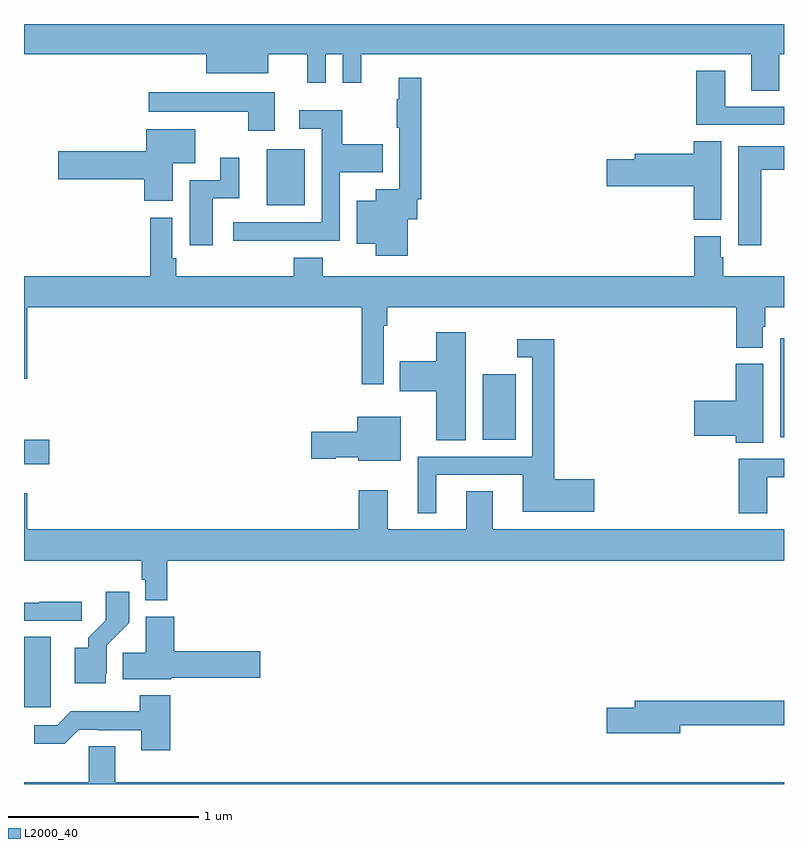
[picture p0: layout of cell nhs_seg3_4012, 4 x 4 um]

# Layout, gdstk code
import gdstk
lib = gdstk.Library(unit=1e-6, precision=1e-09)
def R(c, l, rs):  # rectangles x0, y0, x1, y1
    for r in rs: c.add(gdstk.rectangle(r[:2], r[2:], *l))
def P(c, l, *ps):  # polygons
    for p in ps: c.add(gdstk.Polygon(p, *l))
L2000_40 = (2000, 40)

nhs_seg3_4012 = lib.new_cell('nhs_seg3_4012')
R(nhs_seg3_4012, L2000_40, [(321,706.803,321.142,707.174), (321,708.083,321.133,708.213), (323.414,708.212,323.587,708.556), (324.98,708.224,325,708.745), (322.277,709.445,322.477,709.741)])
P(nhs_seg3_4012, L2000_40, [(321,710.24),(321.959,710.24),(321.959,710.141),(322.285,710.141),(322.285,710.24),(322.49,710.24),(322.49,710.091),(322.587,710.091),(322.587,710.24),(322.677,710.24),(322.677,710.091),(322.775,710.091),(322.775,710.24),(324.827,710.24),(324.827,710.05),(324.975,710.05),(324.975,710.24),(325,710.24),(325,710.4),(321,710.4)],
  [(325,709.965),(324.691,709.965),(324.691,710.155),(324.539,710.155),(324.539,709.869),(325,709.869)],
  [(323.021,709.373),(323.07,709.373),(323.07,709.477),(323.09,709.477),(323.09,710.116),(322.973,710.116),(322.973,710.003),(322.962,710.003),(322.962,709.855),(322.974,709.855),(322.974,709.531),(322.85,709.531),(322.85,709.471),(322.751,709.471),(322.751,709.244),(322.85,709.244),(322.85,709.179),(323.021,709.179)],
  [(322.321,710.041),(321.657,710.041),(321.657,709.937),(322.181,709.937),(322.181,709.839),(322.321,709.839)],
  [(322.337,709.26),(322.662,709.26),(322.662,709.619),(322.889,709.619),(322.889,709.767),(322.675,709.767),(322.675,709.945),(322.449,709.945),(322.449,709.848),(322.566,709.848),(322.566,709.356),(322.101,709.356),(322.101,709.259),(322.337,709.259)],
  [(321.784,709.667),(321.901,709.667),(321.901,709.846),(321.644,709.846),(321.644,709.73),(321.18,709.73),(321.18,709.583),(321.632,709.583),(321.632,709.47),(321.784,709.47)],
  [(324.67,709.784),(324.524,709.784),(324.524,709.718),(324.215,709.718),(324.215,709.688),(324.066,709.688),(324.066,709.546),(324.524,709.546),(324.524,709.369),(324.67,709.369)],
  [(324.88,709.634),(325,709.634),(325,709.756),(324.758,709.756),(324.758,709.236),(324.88,709.236)],
  [(321.994,709.482),(322.132,709.482),(322.132,709.696),(322.034,709.696),(322.034,709.578),(321.872,709.578),(321.872,709.236),(321.994,709.236)],
  [(322.893,708.812),(322.913,708.812),(322.913,708.908),(324.749,708.908),(324.749,708.697),(324.889,708.697),(324.889,708.807),(324.902,708.807),(324.902,708.908),(325,708.908),(325,709.072),(324.68,709.072),(324.68,709.173),(324.667,709.173),(324.667,709.284),(324.527,709.284),(324.527,709.072),(322.573,709.072),(322.573,709.171),(322.421,709.171),(322.421,709.072),(321.8,709.072),(321.8,709.168),(321.78,709.168),(321.78,709.381),(321.664,709.381),(321.664,709.072),(321,709.072),(321,708.534),(321.016,708.534),(321.016,708.908),(322.777,708.908),(322.777,708.504),(322.893,708.504)],
  [(323.326,708.778),(323.171,708.778),(323.171,708.625),(322.978,708.625),(322.978,708.467),(323.171,708.467),(323.171,708.208),(323.326,708.208)],
  [(323.17,708.027),(323.624,708.027),(323.624,707.834),(324.001,707.834),(324.001,708.005),(323.792,708.005),(323.792,708.742),(323.595,708.742),(323.595,708.645),(323.676,708.645),(323.676,708.123),(323.072,708.123),(323.072,707.826),(323.17,707.826)],
  [(324.892,708.612),(324.746,708.612),(324.746,708.416),(324.528,708.416),(324.528,708.233),(324.746,708.233),(324.746,708.196),(324.892,708.196)],
  [(322.984,708.334),(322.754,708.334),(322.754,708.254),(322.512,708.254),(322.512,708.112),(322.641,708.112),(322.641,708.119),(322.758,708.119),(322.758,708.101),(322.984,708.101)],
  [(324.913,708.015),(325,708.015),(325,708.111),(324.761,708.111),(324.761,707.826),(324.913,707.826)],
  [(321.755,707.576),(325,707.576),(325,707.74),(323.467,707.74),(323.467,707.942),(323.327,707.942),(323.327,707.74),(322.915,707.74),(322.915,707.947),(322.763,707.947),(322.763,707.74),(321.016,707.74),(321.016,707.929),(321,707.929),(321,707.576),(321.619,707.576),(321.619,707.475),(321.639,707.475),(321.639,707.366),(321.755,707.366)],
  [(321.43,706.98),(321.435,706.98),(321.435,707.131),(321.554,707.25),(321.554,707.413),(321.429,707.413),(321.429,707.261),(321.338,707.171),(321.338,707.116),(321.266,707.116),(321.266,706.931),(321.43,706.931)],
  [(321.304,707.358),(321.079,707.358),(321.079,707.355),(321,707.355),(321,707.259),(321.304,707.259)],
  [(321.774,706.958),(322.243,706.958),(322.243,707.1),(321.791,707.1),(321.791,707.281),(321.641,707.281),(321.641,707.09),(321.52,707.09),(321.52,706.952),(321.774,706.952)],
  [(321.77,706.867),(321.61,706.867),(321.61,706.783),(321.247,706.783),(321.174,706.71),(321.054,706.71),(321.054,706.613),(321.215,706.613),(321.288,706.686),(321.388,706.686),(321.388,706.683),(321.617,706.683),(321.617,706.578),(321.77,706.578)],
  [(324.454,706.71),(325,706.71),(325,706.838),(324.215,706.838),(324.215,706.802),(324.066,706.802),(324.066,706.667),(324.454,706.667)],
  [(325,706.408),(321.481,706.408),(321.481,706.598),(321.342,706.598),(321.342,706.408),(321,706.408),(321,706.4),(325,706.4)])

lib.write_gds('nhs_seg3_4012.gds')
